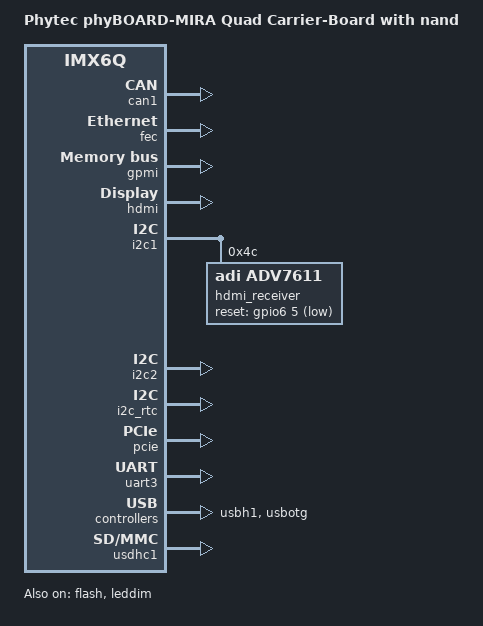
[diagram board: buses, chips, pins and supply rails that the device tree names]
/*
 * Copyright (C) 2015 PHYTEC Messtechnik
 * Author: Christian Hemp <c.hemp@phytec.de>
 *
 * The code contained herein is licensed under the GNU General Public
 * License. You may obtain a copy of the GNU General Public License
 * Version 2 or later at the following locations:
 *
 * http://www.opensource.org/licenses/gpl-license.html
 * http://www.gnu.org/copyleft/gpl.html
 */

/dts-v1/;
#include "imx6q.dtsi"
#include "imx6qdl-phytec-phycore-som.dtsi"
#include "imx6qdl-phytec-mira.dtsi"
#include "imx6qdl-phytec-mira-peb-eval-01.dtsi"
#include "imx6qdl-phytec-mira-peb-av-02.dtsi"
#include "imx6qdl-phytec-peb-wlbt-01.dtsi"

/ {
	model = "Phytec phyBOARD-MIRA Quad Carrier-Board with nand";
	compatible = "phytec,imx6q-pbac06", "phytec,imx6qdl-pcm058", "fsl,imx6q";

	aliases {
		ipu1 = &ipu2;
	};

	chosen {
		linux,stdout-path = &uart2;
	};
};

&can1 {
	status = "okay";
};

&fec {
	status = "okay";
};

&flash {
	status = "okay";
};

&gpmi {
	status = "okay";
};

&hdmi {
	status = "okay";
};

&i2c1 {
	status = "okay";

	hdmi_receiver@4c {
		compatible = "adi,adv7611";
		reg = <0x4c>;

		reset-gpios = <&gpio6 5 GPIO_ACTIVE_LOW>;
		/*hpd-gpios = <&ioexp 2 GPIO_ACTIVE_HIGH>;*/

		#address-cells = <1>;
		#size-cells = <0>;

		port@0 {
			reg = <0>;
		};
		port@1 {
			reg = <1>;
			/*hdmi_in: endpoint {
				remote-endpoint = <&ccdc_in>;
			};*/
		};
	};
};

&i2c2 {
	status = "okay";
};

&i2c_rtc {
	status = "okay";
};

&leddim {
	status = "okay";
};

&pcie {
	status = "okay";
};

&uart3 {
	status = "okay";
};

&usbh1 {
	status = "okay";
};

&usbotg {
	status = "okay";
};

&usdhc1 {
	status = "okay";
};
